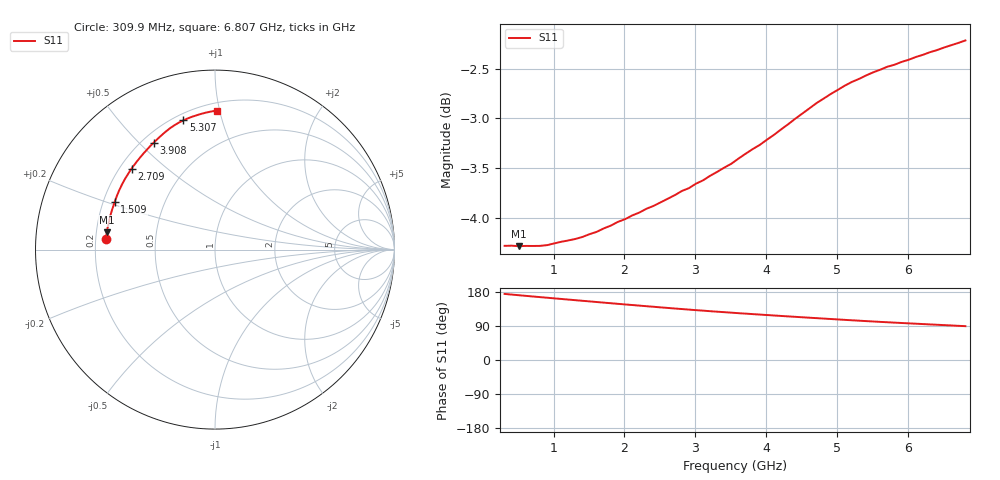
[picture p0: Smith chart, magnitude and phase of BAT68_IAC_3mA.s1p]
! Infineon Technologies  Discrete & RF Semiconductors
! BAT68
! IAC = 3 mA
! One-Port S-Parameters
# Hz  S  MA  R  50
!f  S11
!Hz  Mag  Ang
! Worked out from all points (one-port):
!   66 points, 309.9 MHz to 6.807 GHz, reference 50 ohm
!   lowest |S11| = -4.3 dB at 509.8 MHz (marker M1), VSWR 4.13, Z = 12.2 + j3.73 ohm
!   |S11| at or under -10 dB: nowhere
!   S11 on the Smith chart (normalised r, x): 309.9 MHz: 0.24, +0.05; 1.509 GHz: 0.25, +0.21; 2.709 GHz: 0.25, +0.38; 3.908 GHz: 0.25, +0.55; 5.307 GHz: 0.24, +0.76; 6.807 GHz: 0.25, +0.98
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3.0985e8  0.6106 174.3
5.0975e8  0.6104 170.9
7.0965e8  0.6105 167.6
9.0955e8  0.6111 164.3
1.0095e9  0.6123 162.6
1.2094e9  0.6144 159.4
1.50925e9  0.619 154.6
1.70915e9  0.6231 151.4
2.009e9  0.6298 146.6
2.10895e9  0.6325 145.1
2.30885e9  0.6374 141.9
2.6087e9  0.6449 137.4
2.70865e9  0.6476 135.9
2.8086e9  0.6507 134.5
3.0085e9  0.6563 131.5
3.2084e9  0.6623 128.8
3.6082e9  0.6757 123.6
3.90805e9  0.6865 119.9
4.4078e9  0.7077 113.9
4.8076e9  0.7244 109.3
5.10745e9  0.7354 105.9
5.2074e9  0.7386 104.8
5.30735e9  0.7411 103.7
5.6072e9  0.7491 100.6
5.70715e9  0.7517 99.6
6.007e9  0.7578 96.7
6.30685e9  0.7644 93.9
6.8066e9  0.775 89.3
